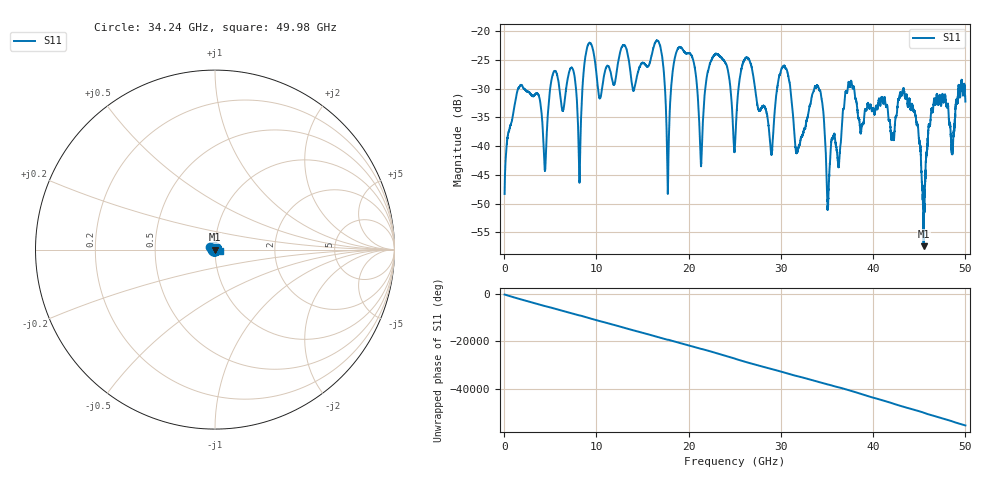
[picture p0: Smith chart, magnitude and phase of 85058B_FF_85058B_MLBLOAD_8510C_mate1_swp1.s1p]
!Created with skrf (http://scikit-rf.org).
# Hz S RI R 50.0
!freq ReS11 ImS11
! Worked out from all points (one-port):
!   10001 points, 45 MHz to 50 GHz, reference 50 ohm
!   lowest |S11| = -57.4 dB at 45.47 GHz (marker M1), VSWR 1.00, Z = 50.1 - j0.111 ohm
!   |S11| at or under -10 dB: start of sweep to end of sweep
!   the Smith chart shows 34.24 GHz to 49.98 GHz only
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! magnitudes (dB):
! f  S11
! 45 MHz  -48.3
! 1.669 GHz  -29.6
! 4.406 GHz  -44.2
! 5.32 GHz  -27.3
! 6.289 GHz  -33.7
! 7.403 GHz  -26.5
! 8.163 GHz  -46.4
! 9.112 GHz  -22.3
! 10.39 GHz  -31.7
! 12.53 GHz  -23.9
! 16.73 GHz  -21.8
! 17.75 GHz  -47.4
! 18.78 GHz  -23.2
! 20.48 GHz  -25.0
! 21.33 GHz  -43.2
! 22.97 GHz  -24.0
! 25.02 GHz  -39.9
! 26.25 GHz  -24.6
! 28.92 GHz  -41.1
! 30.2 GHz  -26.3
! 31.27 GHz  -33.8
! 34.11 GHz  -30.0
! 35.13 GHz  -49.6
! 37.51 GHz  -29.5
! 43.76 GHz  -33.1
! 45.47 GHz  -57.4
! 46.74 GHz  -32.7
! 50 GHz  -32.3
